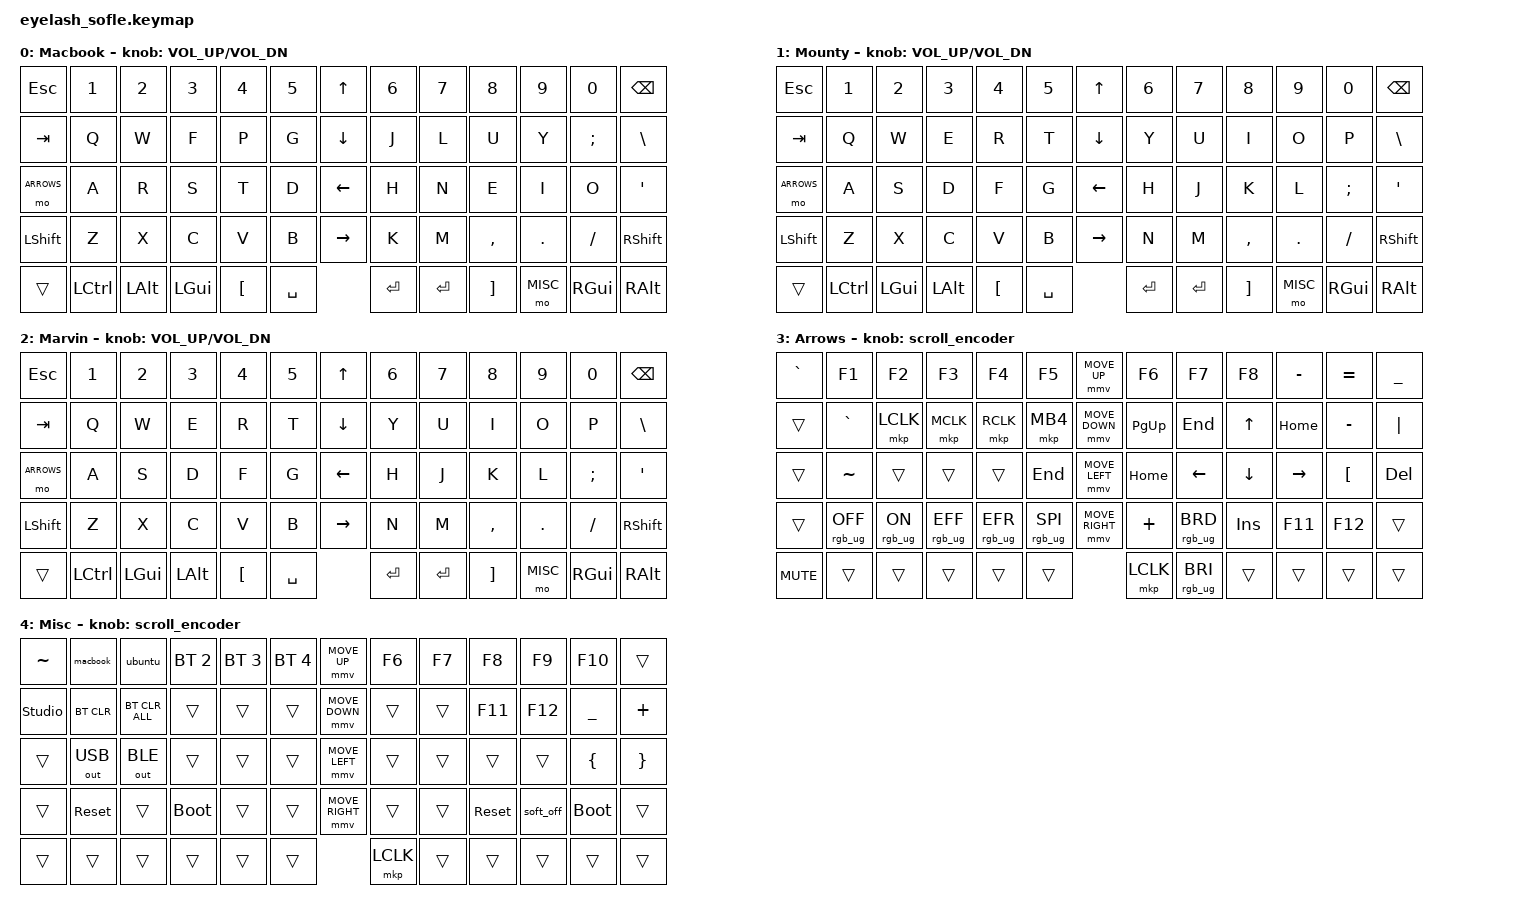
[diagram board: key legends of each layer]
#include <behaviors.dtsi>
#include <dt-bindings/zmk/bt.h>
#include <dt-bindings/zmk/keys.h>
#include <dt-bindings/zmk/mouse.h>
#include <dt-bindings/zmk/outputs.h>
#include <dt-bindings/zmk/rgb.h>

#include <input/processors.dtsi>

/*

   &mmv_input_listener {
       input-processors = <&zip_xy_scaler 2 1>;
   };

   &msc_input_listener {
       input-processors = <&zip_xy_scaler 2 1>;
   };

 */

#define MACBOOK 0
#define MARVIN 2
#define MOUNTY 1
#define ARROWS 3
#define MISC 4

#define ZMK_MOUSE_DEFAULT_MOVE_VAL 1200  // 600
#define ZMK_MOUSE_DEFAULT_SCRL_VAL 20    // 10


/ {
    macros {
        ubuntu: ubuntu {
            compatible = "zmk,behavior-macro";
            label = "Ubuntu";
            #binding-cells = <0>;
            bindings = <&bt BT_SEL 1>, <&to MOUNTY>;
        };
        macbook: macbook {
            compatible = "zmk,behavior-macro";
            label = "Macbook";
            #binding-cells = <0>;
            bindings = <&bt BT_SEL 0>, <&to MACBOOK>;
        };
        marvin: marvin {
            compatible = "zmk,behavior-macro";
            label = "Marvin";
            #binding-cells = <0>;
            bindings = <&bt BT_SEL 2>, <&to MARVIN>;
        };
    };
    behaviors {
        mmv {
            acceleration-exponent = <1>;      // 1
            time-to-max-speed-ms = <900>;    // 40
            delay-ms = <0>;                   // 0
        };

        msc {
            acceleration-exponent = <1>;      // 0
            time-to-max-speed-ms = <400>;      // 500
            delay-ms = <0>;                   //   10
        };
    };

    scroll_encoder: scroll_encoder {
        compatible = "zmk,behavior-sensor-rotate";
        #sensor-binding-cells = <0>;
        bindings = <&msc SCRL_DOWN>, <&msc SCRL_UP>;

        tap-ms = <30>;
    };

    keymap {
        compatible = "zmk,keymap";

        layer0 {
            bindings = <
&kp ESC     &kp N1     &kp N2        &kp N3        &kp N4  &kp N5       &kp UP_ARROW     &kp N6     &kp N7     &kp N8     &kp N9           &kp N0      &kp BACKSPACE
&kp TAB     &kp Q      &kp W         &kp F         &kp P   &kp G        &kp DOWN_ARROW   &kp J      &kp L      &kp U      &kp Y            &kp SEMI    &kp BSLH
&mo ARROWS    &kp A      &kp R         &kp S         &kp T   &kp D        &kp LEFT_ARROW   &kp H      &kp N      &kp E      &kp I            &kp O       &kp APOS
&kp LSHFT   &kp Z      &kp X         &kp C         &kp V   &kp B        &kp RIGHT_ARROW  &kp K      &kp M      &kp COMMA  &kp DOT          &kp FSLH    &kp RSHIFT
&trans &kp LCTRL &kp LALT  &kp LEFT_GUI  &kp LEFT_BRACKET   &kp SPACE    &kp ENTER    &kp ENTER    &kp RIGHT_BRACKET  &mo MISC      &kp RIGHT_GUI  &kp RIGHT_ALT

            >;

            sensor-bindings = <&inc_dec_kp C_VOLUME_UP C_VOL_DN>;
            display-name = "Macbook";
        };

        layer_1 {
            bindings = <
&kp ESC     &kp N1     &kp N2        &kp N3        &kp N4  &kp N5       &kp UP_ARROW     &kp N6     &kp N7     &kp N8     &kp N9           &kp N0      &kp BACKSPACE
&kp TAB     &kp Q      &kp W         &kp E         &kp R   &kp T        &kp DOWN_ARROW   &kp Y      &kp U      &kp I      &kp O            &kp P       &kp BSLH
&mo ARROWS  &kp A      &kp S         &kp D         &kp F   &kp G        &kp LEFT_ARROW   &kp H      &kp J      &kp K      &kp L            &kp SEMI    &kp APOS
&kp LSHFT   &kp Z      &kp X         &kp C         &kp V   &kp B        &kp RIGHT_ARROW  &kp N      &kp M      &kp COMMA  &kp DOT          &kp FSLH    &kp RSHIFT
&trans &kp LCTRL &kp LEFT_GUI  &kp LALT  &kp LEFT_BRACKET   &kp SPACE    &kp ENTER    &kp ENTER    &kp RIGHT_BRACKET  &mo MISC      &kp RIGHT_GUI  &kp RIGHT_ALT

            >;

            sensor-bindings = <&inc_dec_kp C_VOLUME_UP C_VOL_DN>;
            display-name = "Mounty";
        };


        layer_2 {
            bindings = <
&kp ESC     &kp N1     &kp N2        &kp N3        &kp N4  &kp N5       &kp UP_ARROW     &kp N6     &kp N7     &kp N8     &kp N9           &kp N0      &kp BACKSPACE
&kp TAB     &kp Q      &kp W         &kp E         &kp R   &kp T        &kp DOWN_ARROW   &kp Y      &kp U      &kp I      &kp O            &kp P       &kp BSLH
&mo ARROWS  &kp A      &kp S         &kp D         &kp F   &kp G        &kp LEFT_ARROW   &kp H      &kp J      &kp K      &kp L            &kp SEMI    &kp APOS
&kp LSHFT   &kp Z      &kp X         &kp C         &kp V   &kp B        &kp RIGHT_ARROW  &kp N      &kp M      &kp COMMA  &kp DOT          &kp FSLH    &kp RSHIFT
&trans &kp LCTRL &kp LEFT_GUI  &kp LALT  &kp LEFT_BRACKET   &kp SPACE    &kp ENTER    &kp ENTER    &kp RIGHT_BRACKET  &mo MISC      &kp RIGHT_GUI  &kp RIGHT_ALT

            >;

            sensor-bindings = <&inc_dec_kp C_VOLUME_UP C_VOL_DN>;
            display-name = "Marvin";
        };

        layer_3 {
            bindings = <
&kp GRAVE   &kp F1           &kp F2          &kp F3           &kp F4           &kp F5             &mmv MOVE_UP     &kp F6           &kp F7           &kp F8      &kp MINUS     &kp EQUAL           &kp UNDER
&trans      &kp GRAVE        &mkp LCLK       &mkp MCLK        &mkp RCLK        &mkp MB4           &mmv MOVE_DOWN   &kp PG_UP        &kp END          &kp UP      &kp HOME   &kp MINUS         &kp PIPE
&trans      &kp TILDE        &trans          &trans           &trans           &kp END           &mmv MOVE_LEFT   &kp HOME        &kp LEFT         &kp DOWN    &kp RIGHT  &kp LEFT_BRACKET  &kp DEL
&trans      &rgb_ug RGB_OFF  &rgb_ug RGB_ON  &rgb_ug RGB_EFF  &rgb_ug RGB_EFR  &rgb_ug RGB_SPI    &mmv MOVE_RIGHT  &kp PLUS  &rgb_ug RGB_BRD  &kp INSERT  &kp F11    &kp F12           &trans
&kp C_MUTE  &trans           &trans          &trans           &trans           &trans             &mkp LCLK        &rgb_ug RGB_BRI           &trans           &trans      &trans     &trans
            >;

            display-name = "Arrows";
            sensor-bindings = <&scroll_encoder>;
        };

        layer_4 {
            bindings = <
&kp TILDE  &macbook  &ubuntu    &bt BT_SEL 2  &bt BT_SEL 3  &bt BT_SEL 4    &mmv MOVE_UP     &kp F6  &kp F7  &kp F8      &kp F9     &kp F10      &trans
&studio_unlock      &bt BT_CLR    &bt BT_CLR_ALL  &trans        &trans        &trans          &mmv MOVE_DOWN   &trans  &trans  &kp F11     &kp F12    &kp UNDER    &kp PLUS
&trans     &out OUT_USB  &out OUT_BLE    &trans        &trans        &trans          &mmv MOVE_LEFT   &trans  &trans  &trans      &trans     &kp LBRC     &kp RBRC
&trans     &sys_reset    &trans          &bootloader   &trans        &trans          &mmv MOVE_RIGHT  &trans  &trans  &sys_reset  &soft_off  &bootloader  &trans
&trans     &trans        &trans          &trans        &trans        &trans          &mkp LCLK        &trans  &trans  &trans      &trans     &trans
            >;

            sensor-bindings = <&scroll_encoder>;
            display-name = "Misc";
        };
    };
};
